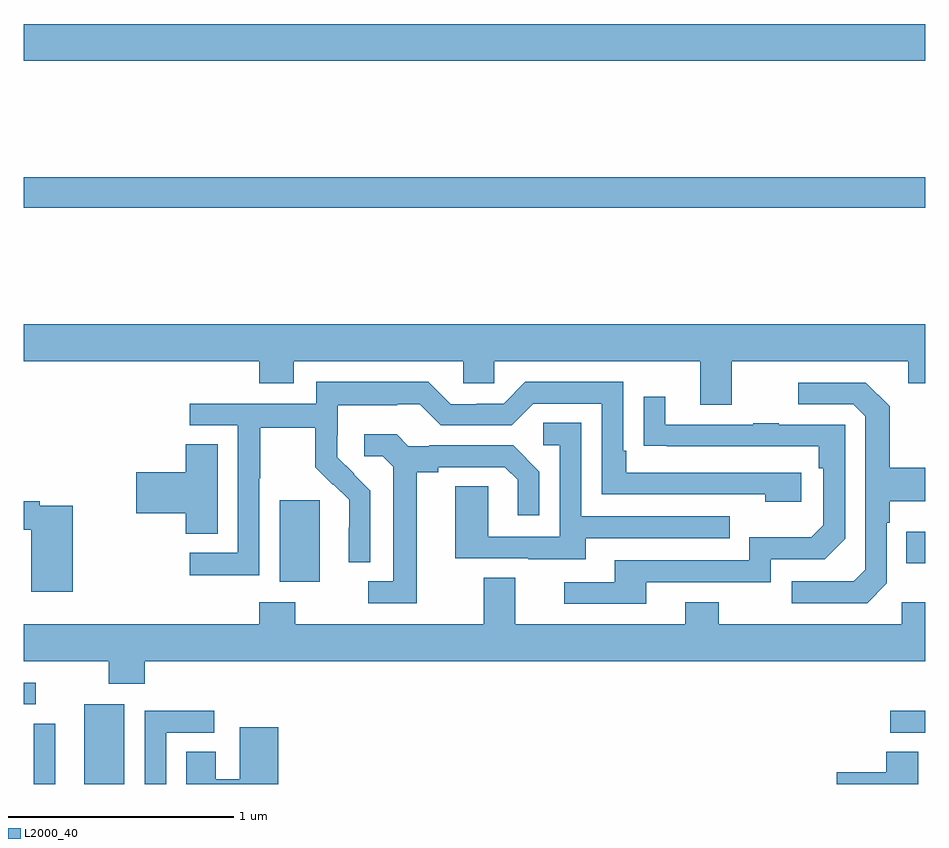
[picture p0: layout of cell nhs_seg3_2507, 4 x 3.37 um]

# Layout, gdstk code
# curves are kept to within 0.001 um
import gdstk
lib = gdstk.Library(unit=1e-6, precision=1e-09)
def R(c, l, rs):  # rectangles x0, y0, x1, y1
    for r in rs: c.add(gdstk.rectangle(r[:2], r[2:], *l))
def P(c, l, *ps):  # polygons
    for p in ps: c.add(gdstk.Polygon(p, *l))
L2000_40 = (2000, 40)

nhs_seg3_2507 = lib.new_cell('nhs_seg3_2507')
R(nhs_seg3_2507, L2000_40, [(241.268,672.4,241.447,672.754), (244.845,672.627,245,672.726), (241,672.753,241.054,672.849), (242.135,673.298,242.314,673.659), (244.915,673.379,245,673.519), (241,674.956,245,675.092), (241,675.608,245,675.772)])
P(nhs_seg3_2507, L2000_40, [(244.141,674.276),(244.925,674.276),(244.925,674.177),(245,674.177),(245,674.44),(241,674.44),(241,674.276),(242.045,674.276),(242.045,674.177),(242.197,674.177),(242.197,674.276),(242.949,674.276),(242.949,674.178),(243.087,674.178),(243.087,674.276),(244.001,674.276),(244.001,674.082),(244.141,674.082)],
  [(242.046,673.756),(242.049,673.756),(242.049,673.98),(242.293,673.98),(242.293,673.805),(242.37,673.728),(242.373,673.731),(242.444,673.661),(242.444,673.538),(242.442,673.538),(242.442,673.384),(242.538,673.384),(242.538,673.702),(242.392,673.85),(242.392,673.947),(242.394,673.947),(242.394,674.081),(242.657,674.081),(242.657,674.085),(242.757,674.085),(242.85,673.992),(243.165,673.992),(243.261,674.088),(243.564,674.088),(243.564,673.686),(244.289,673.686),(244.289,673.652),(244.45,673.652),(244.45,673.782),(243.673,673.782),(243.673,673.879),(243.66,673.879),(243.66,674.184),(243.225,674.184),(243.129,674.088),(243.011,674.088),(243.011,674.085),(242.895,674.085),(242.795,674.185),(242.298,674.185),(242.298,674.088),(241.737,674.088),(241.737,673.992),(241.95,673.992),(241.95,673.425),(241.737,673.425),(241.737,673.327),(242.046,673.327)],
  [(244.83,673.29),(244.83,673.559),(244.843,673.559),(244.843,673.655),(245,673.655),(245,673.803),(244.843,673.803),(244.843,674.075),(244.737,674.181),(244.437,674.181),(244.437,674.085),(244.68,674.085),(244.734,674.031),(244.734,673.35),(244.683,673.299),(244.407,673.299),(244.407,673.203),(244.743,673.203)],
  [(243.763,673.296),(244.314,673.296),(244.314,673.398),(244.554,673.398),(244.644,673.488),(244.644,673.995),(244.349,673.995),(244.349,674),(244.237,674),(244.237,673.995),(243.847,673.995),(243.847,674.119),(243.751,674.119),(243.751,673.9),(244.528,673.899),(244.528,673.802),(244.548,673.802),(244.548,673.548),(244.495,673.495),(244.218,673.495),(244.218,673.392),(243.623,673.392),(243.623,673.296),(243.399,673.296),(243.399,673.2),(243.763,673.2)],
  [(243.493,673.491),(244.133,673.491),(244.133,673.587),(243.474,673.587),(243.474,674.003),(243.306,674.003),(243.306,673.902),(243.378,673.902),(243.378,673.497),(243.06,673.497),(243.06,673.721),(242.915,673.721),(242.915,673.401),(243.239,673.401),(243.239,673.397),(243.493,673.397)],
  [(242.743,673.784),(242.839,673.784),(242.839,673.806),(243.134,673.806),(243.191,673.749),(243.191,673.593),(243.288,673.593),(243.288,673.786),(243.172,673.902),(242.8,673.902),(242.8,673.899),(242.706,673.899),(242.654,673.951),(242.511,673.951),(242.511,673.854),(242.592,673.854),(242.639,673.807),(242.639,673.299),(242.529,673.299),(242.529,673.203),(242.743,673.203)],
  [(241.861,673.907),(241.718,673.907),(241.718,673.784),(241.5,673.784),(241.5,673.601),(241.718,673.601),(241.718,673.51),(241.861,673.51)],
  [(241.217,673.635),(241.07,673.635),(241.07,673.655),(241,673.655),(241,673.527),(241.034,673.527),(241.034,673.254),(241.217,673.254)],
  [(245,673.207),(244.896,673.207),(244.896,673.108),(244.083,673.108),(244.083,673.207),(243.935,673.207),(243.935,673.108),(243.181,673.108),(243.181,673.316),(243.041,673.316),(243.041,673.108),(242.205,673.108),(242.205,673.207),(242.045,673.207),(242.045,673.108),(241,673.108),(241,672.944),(241.378,672.944),(241.378,672.845),(241.538,672.845),(241.538,672.944),(245,672.944)],
  [(241.632,672.627),(241.846,672.627),(241.846,672.726),(241.536,672.726),(241.536,672.4),(241.632,672.4)],
  [(241.139,672.514),(241.14,672.514),(241.14,672.668),(241.044,672.668),(241.044,672.4),(241.139,672.4)],
  [(242.129,672.652),(241.958,672.652),(241.958,672.421),(241.852,672.421),(241.852,672.542),(241.721,672.542),(241.721,672.4),(242.129,672.4)],
  [(244.969,672.542),(244.826,672.542),(244.826,672.452),(244.608,672.452),(244.608,672.4),(244.969,672.4)])

lib.write_gds('nhs_seg3_2507.gds')
